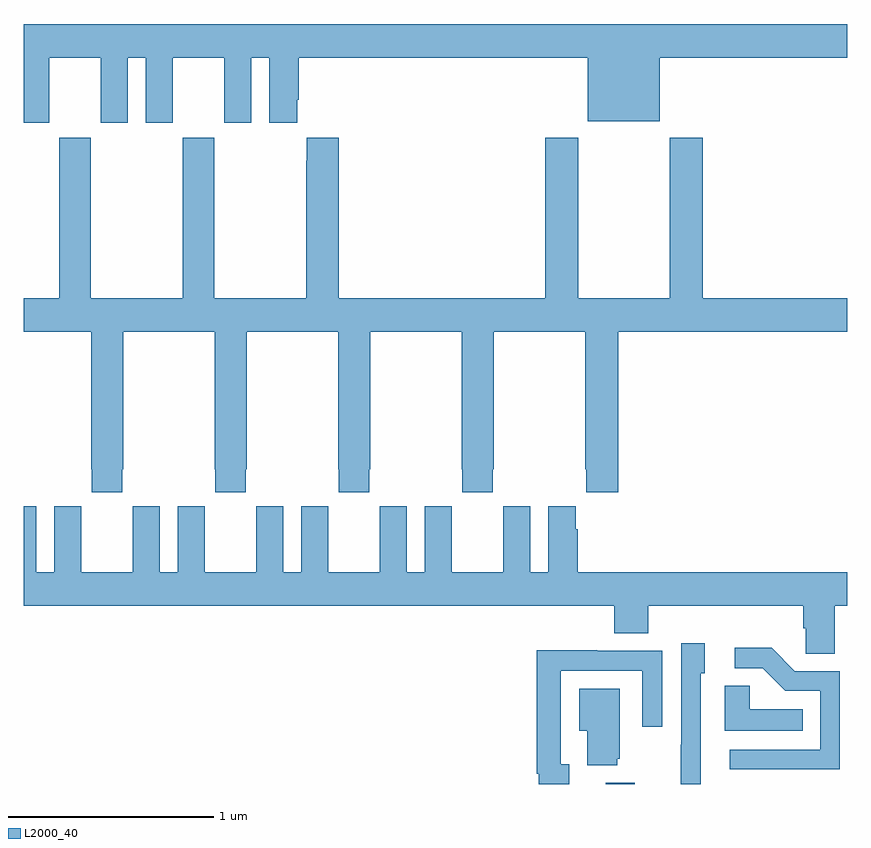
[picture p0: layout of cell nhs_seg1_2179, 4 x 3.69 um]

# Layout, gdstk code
import gdstk
lib = gdstk.Library(unit=1e-6, precision=1e-09)
def R(c, l, rs):  # rectangles x0, y0, x1, y1
    for r in rs: c.add(gdstk.rectangle(r[:2], r[2:], *l))
def P(c, l, *ps):  # polygons
    for p in ps: c.add(gdstk.Polygon(p, *l))
L2000_40 = (2000, 40)

nhs_seg1_2179 = lib.new_cell('nhs_seg1_2179')
R(nhs_seg1_2179, L2000_40, [(231.827,552.199,231.967,552.205)])
P(nhs_seg1_2179, L2000_40, [(229.123,555.728),(229.373,555.728),(229.373,555.411),(229.504,555.411),(229.504,555.728),(229.592,555.728),(229.592,555.411),(229.723,555.411),(229.723,555.728),(229.973,555.728),(229.973,555.411),(230.104,555.411),(230.104,555.728),(230.192,555.728),(230.192,555.411),(230.329,555.411),(230.329,555.523),(230.336,555.523),(230.336,555.728),(231.74,555.728),(231.74,555.419),(232.09,555.419),(232.09,555.728),(233,555.728),(233,555.892),(229,555.892),(229,555.411),(229.123,555.411)],
  [(229.479,553.729),(229.482,553.729),(229.482,554.396),(229.927,554.396),(229.927,553.729),(229.929,553.729),(229.929,553.617),(230.079,553.617),(230.079,553.729),(230.082,553.729),(230.082,554.396),(230.527,554.396),(230.527,553.729),(230.529,553.729),(230.529,553.617),(230.679,553.617),(230.679,553.729),(230.682,553.729),(230.682,554.396),(231.127,554.396),(231.127,553.729),(231.129,553.729),(231.129,553.617),(231.279,553.617),(231.279,553.729),(231.282,553.729),(231.282,554.396),(231.727,554.396),(231.727,553.729),(231.733,553.729),(231.733,553.617),(231.887,553.617),(231.887,554.396),(233,554.396),(233,554.56),(232.298,554.56),(232.298,555.34),(232.138,555.34),(232.138,554.56),(231.693,554.56),(231.693,555.34),(231.533,555.34),(231.533,554.56),(230.531,554.56),(230.531,555.34),(230.375,555.34),(230.375,555.227),(230.371,555.227),(230.371,554.56),(229.926,554.56),(229.926,555.34),(229.771,555.34),(229.771,554.56),(229.326,554.56),(229.326,555.34),(229.171,555.34),(229.171,554.56),(229,554.56),(229,554.396),(229.327,554.396),(229.327,553.729),(229.329,553.729),(229.329,553.617),(229.479,553.617)],
  [(231.869,552.931),(232.034,552.931),(232.034,553.064),(232.787,553.064),(232.787,552.955),(232.8,552.955),(232.8,552.832),(232.939,552.832),(232.939,553.064),(233,553.064),(233,553.228),(231.692,553.228),(231.692,553.436),(231.682,553.436),(231.682,553.549),(231.548,553.549),(231.548,553.228),(231.46,553.228),(231.46,553.549),(231.33,553.549),(231.33,553.436),(231.329,553.436),(231.329,553.228),(231.079,553.228),(231.079,553.436),(231.078,553.436),(231.078,553.549),(230.948,553.549),(230.948,553.228),(230.86,553.228),(230.86,553.549),(230.73,553.549),(230.73,553.436),(230.729,553.436),(230.729,553.228),(230.479,553.228),(230.479,553.436),(230.478,553.436),(230.478,553.549),(230.348,553.549),(230.348,553.228),(230.26,553.228),(230.26,553.549),(230.13,553.549),(230.13,553.436),(230.129,553.436),(230.129,553.228),(229.879,553.228),(229.879,553.436),(229.878,553.436),(229.878,553.549),(229.748,553.549),(229.748,553.228),(229.66,553.228),(229.66,553.549),(229.53,553.549),(229.53,553.436),(229.529,553.436),(229.529,553.228),(229.279,553.228),(229.279,553.436),(229.278,553.436),(229.278,553.549),(229.148,553.549),(229.148,553.228),(229.06,553.228),(229.06,553.549),(229,553.549),(229,553.064),(231.869,553.064)],
  [(232.29,552.738),(232.309,552.738),(232.309,552.883),(232.194,552.883),(232.194,552.389),(232.192,552.389),(232.192,552.199),(232.29,552.199)],
  [(232.965,552.747),(232.746,552.747),(232.633,552.86),(232.455,552.86),(232.455,552.762),(232.589,552.762),(232.7,552.651),(232.869,552.651),(232.869,552.366),(232.431,552.366),(232.431,552.27),(232.965,552.27)],
  [(231.649,552.294),(231.609,552.294),(231.609,552.75),(232.005,552.75),(232.005,552.477),(232.101,552.477),(232.101,552.846),(231.785,552.846),(231.785,552.848),(231.493,552.848),(231.493,552.25),(231.501,552.25),(231.501,552.199),(231.649,552.199)],
  [(232.784,552.562),(232.527,552.562),(232.527,552.677),(232.406,552.677),(232.406,552.458),(232.784,552.458)],
  [(231.884,552.321),(231.895,552.321),(231.895,552.661),(231.698,552.661),(231.698,552.458),(231.737,552.458),(231.737,552.29),(231.884,552.29)])

lib.write_gds('nhs_seg1_2179.gds')
